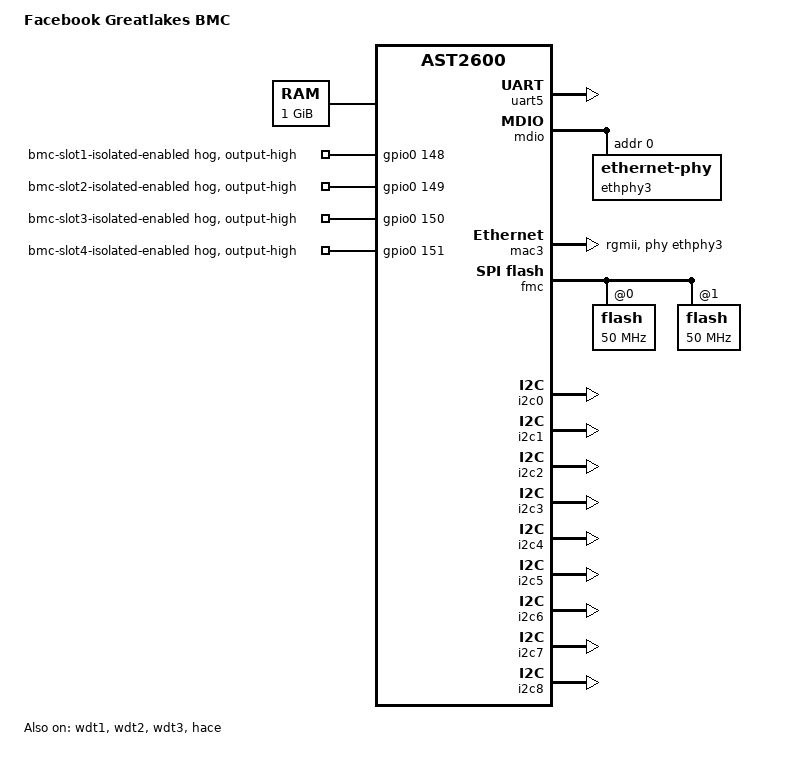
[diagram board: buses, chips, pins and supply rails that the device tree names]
// SPDX-License-Identifier: GPL-2.0+
// Copyright (c) 2022 Meta Platforms Inc.
/dts-v1/;

#include "ast2600-u-boot.dtsi"

/ {
	model = "Facebook Greatlakes BMC";
	compatible = "facebook,greatlakes-bmc", "aspeed,ast2600";

	memory {
		device_type = "memory";
		reg = <0x80000000 0x40000000>;
	};

	chosen {
		stdout-path = &uart5;
	};

	aliases {
		spi0 = &fmc;
		ethernet3 = &mac3;
	};

	cpus {
		cpu@0 {
			clock-frequency = <800000000>;
		};
		cpu@1 {
			clock-frequency = <800000000>;
		};
	};
};

&uart5 {
	u-boot,dm-pre-reloc;
	status = "okay";
};

&sdrammc {
	clock-frequency = <400000000>;
};

&wdt1 {
	status = "okay";
};

&wdt2 {
	status = "okay";
};

&wdt3 {
	status = "okay";
};

&mdio {
	status = "okay";
	pinctrl-names = "default";
	pinctrl-0 = <&pinctrl_mdio4_default>;
	#address-cells = <1>;
	#size-cells = <0>;
	ethphy3: ethernet-phy@3 {
		reg = <0>;
	};
};

&mac3 {
	status = "okay";
	phy-mode = "rgmii";
	phy-handle = <&ethphy3>;
	pinctrl-names = "default";
	pinctrl-0 = <&pinctrl_rgmii4_default>;
};

&fmc {
	status = "okay";

	pinctrl-names = "default";
	pinctrl-0 = <&pinctrl_fmcquad_default>;

	flash@0 {
		status = "okay";
		spi-max-frequency = <50000000>;
		spi-tx-bus-width = <4>;
		spi-rx-bus-width = <4>;
	};

	flash@1 {
		status = "okay";
		spi-max-frequency = <50000000>;
		spi-tx-bus-width = <4>;
		spi-rx-bus-width = <4>;
	};
};

&gpio0 {
	status = "okay";
	line_148 {
		gpio-hog;
		gpios = <148 GPIO_ACTIVE_HIGH>;
		output-high;
		line-name = "bmc-slot1-isolated-enabled";
	};
	line_149 {
		gpio-hog;
		gpios = <149 GPIO_ACTIVE_HIGH>;
		output-high;
		line-name = "bmc-slot2-isolated-enabled";
	};
	line_150 {
		gpio-hog;
		gpios = <150 GPIO_ACTIVE_HIGH>;
		output-high;
		line-name = "bmc-slot3-isolated-enabled";
	};
	line_151 {
		gpio-hog;
		gpios = <151 GPIO_ACTIVE_HIGH>;
		output-high;
		line-name = "bmc-slot4-isolated-enabled";
	};
};

&i2c0 {
	status = "okay";

	pinctrl-names = "default";
	pinctrl-0 = <&pinctrl_i2c1_default>;
};

&i2c1 {
	status = "okay";

	pinctrl-names = "default";
	pinctrl-0 = <&pinctrl_i2c2_default>;
};

&i2c2 {
	status = "okay";

	pinctrl-names = "default";
	pinctrl-0 = <&pinctrl_i2c3_default>;
};

&i2c3 {
	status = "okay";

	pinctrl-names = "default";
	pinctrl-0 = <&pinctrl_i2c4_default>;
};

&i2c4 {
	status = "okay";

	pinctrl-names = "default";
	pinctrl-0 = <&pinctrl_i2c5_default>;
};

&i2c5 {
	status = "okay";

	pinctrl-names = "default";
	pinctrl-0 = <&pinctrl_i2c6_default>;
};

&i2c6 {
	status = "okay";

	pinctrl-names = "default";
	pinctrl-0 = <&pinctrl_i2c7_default>;
};

&i2c7 {
	status = "okay";

	pinctrl-names = "default";
	pinctrl-0 = <&pinctrl_i2c8_default>;
};

&i2c8 {
	status = "okay";

	pinctrl-names = "default";
	pinctrl-0 = <&pinctrl_i2c9_default>;
};

&scu {
	mac0-clk-delay = <0x10 0x0a
			  0x10 0x10
			  0x10 0x10>;
	mac1-clk-delay = <0x10 0x0a
			  0x10 0x10
			  0x10 0x10>;
	mac2-clk-delay = <0x08 0x04
			  0x08 0x04
			  0x08 0x04>;
	mac3-clk-delay = <0x08 0x04
			  0x08 0x04
			  0x08 0x04>;
};

&hace {
	u-boot,dm-pre-reloc;
	status = "okay";
};
